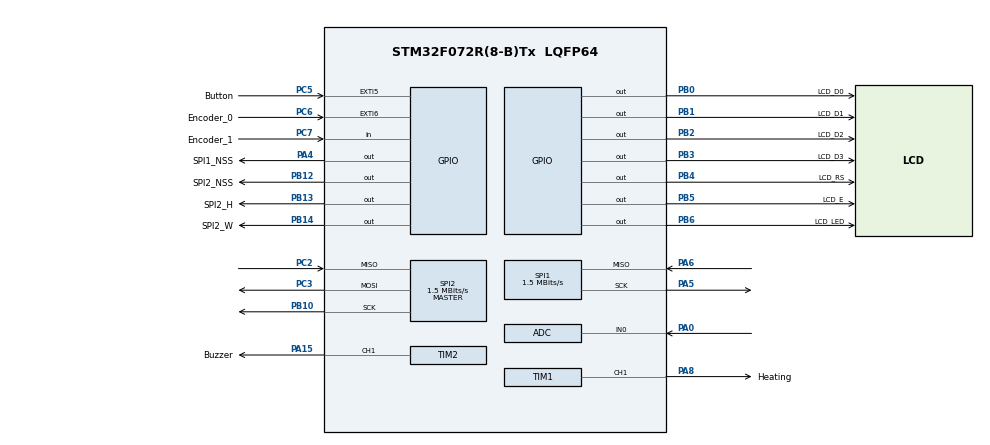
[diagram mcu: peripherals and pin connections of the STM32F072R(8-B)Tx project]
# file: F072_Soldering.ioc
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ADC.ClockPrescaler=ADC_CLOCK_SYNC_PCLK_DIV4
ADC.ContinuousConvMode=ENABLE
Mcu.Family=STM32F0
Mcu.Name=STM32F072R(8-B)Tx
Mcu.Package=LQFP64
NVIC.EXTI4_15_IRQn=true\:0\:0\:false\:false\:true\:true\:true\:true
PA0.Mode=IN0
PA0.Signal=ADC_IN0
PA13.Mode=Serial_Wire
PA13.Signal=SYS_SWDIO
PA14.Mode=Serial_Wire
PA14.Signal=SYS_SWCLK
PA15.GPIO_Label=Buzzer
PA15.Signal=S_TIM2_CH1_ETR
PA4.GPIO_Label=SPI1_NSS
PA4.Signal=GPIO_Output
PA5.Mode=RX_Only_Simplex_Unidirect_Master
PA5.Signal=SPI1_SCK
PA6.Mode=RX_Only_Simplex_Unidirect_Master
PA6.Signal=SPI1_MISO
PA8.GPIO_Label=Heating
PA8.Signal=S_TIM1_CH1
PB0.GPIO_Label=LCD_D0
PB0.Signal=GPIO_Output
PB1.GPIO_Label=LCD_D1
PB1.Signal=GPIO_Output
PB10.Mode=Full_Duplex_Master
PB10.Signal=SPI2_SCK
PB12.GPIO_Label=SPI2_NSS
PB12.Signal=GPIO_Output
PB13.GPIO_Label=SPI2_H
PB13.Signal=GPIO_Output
PB14.GPIO_Label=SPI2_W
PB14.Signal=GPIO_Output
PB2.GPIO_Label=LCD_D2
PB2.Signal=GPIO_Output
PB3.GPIO_Label=LCD_D3
PB3.Signal=GPIO_Output
PB4.GPIO_Label=LCD_RS
PB4.Signal=GPIO_Output
PB5.GPIO_Label=LCD_E
PB5.Signal=GPIO_Output
PB6.GPIO_FM6=__NULL
PB6.GPIO_Label=LCD_LED
PB6.Signal=GPIO_Output
PC2.Mode=Full_Duplex_Master
PC2.Signal=SPI2_MISO
PC3.Mode=Full_Duplex_Master
PC3.Signal=SPI2_MOSI
PC5.GPIO_Label=Button
PC5.GPIO_ModeDefaultEXTI=GPIO_MODE_IT_FALLING
PC5.GPIO_PuPd=GPIO_PULLUP
PC5.Signal=GPXTI5
PC6.GPIO_Label=Encoder_0
PC6.GPIO_ModeDefaultEXTI=GPIO_MODE_IT_FALLING
PC6.GPIO_PuPd=GPIO_PULLUP
PC6.Signal=GPXTI6
PC7.GPIO_Label=Encoder_1
PC7.GPIO_PuPd=GPIO_PULLUP
PC7.Signal=GPIO_Input
PF0-OSC_IN.Mode=HSE-External-Oscillator
PF0-OSC_IN.Signal=RCC_OSC_IN
PF1-OSC_OUT.Mode=HSE-External-Oscillator
PF1-OSC_OUT.Signal=RCC_OSC_OUT
ProjectManager.HeapSize=0x200
ProjectManager.StackSize=0x400
ProjectManager.TargetToolchain=STM32CubeIDE
RCC.AHBFreq_Value=48000000
RCC.APB1Freq_Value=48000000
RCC.APB1TimFreq_Value=48000000
RCC.HCLKFreq_Value=48000000
RCC.PLLMUL=RCC_PLL_MUL6
RCC.SYSCLKFreq_VALUE=48000000
RCC.SYSCLKSource=RCC_SYSCLKSOURCE_HSI48
SH.S_TIM1_CH1.0=TIM1_CH1,PWM Generation1 CH1
SH.S_TIM2_CH1_ETR.0=TIM2_CH1,PWM Generation1 CH1
SPI1.BaudRatePrescaler=SPI_BAUDRATEPRESCALER_32
SPI1.CalculateBaudRate=1.5 MBits/s
SPI1.DataSize=SPI_DATASIZE_8BIT
SPI1.Direction=SPI_DIRECTION_2LINES_RXONLY
SPI1.Mode=SPI_MODE_MASTER
SPI1.VirtualType=VM_MASTER
SPI2.BaudRatePrescaler=SPI_BAUDRATEPRESCALER_32
SPI2.CalculateBaudRate=1.5 MBits/s
SPI2.DataSize=SPI_DATASIZE_8BIT
SPI2.Direction=SPI_DIRECTION_2LINES
SPI2.Mode=SPI_MODE_MASTER
SPI2.VirtualType=VM_MASTER
TIM1.AutoReloadPreload=TIM_AUTORELOAD_PRELOAD_ENABLE
TIM1.Channel-PWM\ Generation1\ CH1=TIM_CHANNEL_1
TIM1.OCPolarity_1=TIM_OCPOLARITY_LOW
TIM1.Prescaler=48
TIM2.AutoReloadPreload=TIM_AUTORELOAD_PRELOAD_ENABLE
TIM2.Channel-PWM\ Generation1\ CH1=TIM_CHANNEL_1
TIM2.Period=65535
TIM2.Prescaler=48
VP_TIM1_VS_ClockSourceINT.Mode=Internal
VP_TIM2_VS_ClockSourceINT.Mode=Internal
board=custom

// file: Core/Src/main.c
/* USER CODE BEGIN Header */
/**
  ******************************************************************************
  * @file           : main.c
  * @brief          : Main program body
  ******************************************************************************
  * @attention
  *
  * Copyright (c) 2022 STMicroelectronics.
  * All rights reserved.
  *
  * This software is licensed under terms that can be found in the LICENSE file
  * in the root directory of this software component.
  * If no LICENSE file comes with this software, it is provided AS-IS.
  *
  ******************************************************************************
  */
/* USER CODE END Header */
#include "main.h"
#include "adc.h"
#include "spi.h"
#include "tim.h"
#include "gpio.h"

/* USER CODE BEGIN Includes */
#include "HD44780.h"
#include "Eeprom.h"
/* USER CODE END Includes */

/* USER CODE BEGIN PV */

uint8_t		System				= 0;		// ridi zobrazeni na displeji 	0 - normalni,
											//								1 - MENU - prechazi tlacitkem rot koderu
											//								2 - EEPROM - uklada se do pameti po konci rezimu MENU
											//								3 - Standby - kdyz je dlouho stejna teplota
											//								4 - ERROR - chyba teplomeru

uint8_t		Menu				= 0;		// pozice v MENU, 0 - 8 jsou pro zmenu promenych, 9 - 11 zobrazeni stavu promennych, 12 - exit

uint16_t	TimerBeep			= 0;		// doba trvani tonu, generovano PWM
uint16_t	TimerStart			= 0;		// pocita milisekundy od startu, zastavi se na 10 sekund
uint16_t	TimerSec			= 0;		// pocita cas v milisekundach, pretece pri dosazeni sekundy v preruseni SYSTICK

uint8_t		Temperature[4];					// Buffer pro cteni z MAX31855
uint32_t	TemperatureIn		= 0;		// Teplota obvodu MAX31855
uint32_t	TemperatureOut		= 0;		// Teplota termoclanku
uint16_t	MeanArray[200];					// Pole pro prumerovani hodnot z MAX31855
uint8_t		MeanPointer			= 0;		// Ukazatel v poli
uint16_t	MeanMax				= 40;		// EEPROM - velikost pole pro prumerovani pri mereni teploty
uint32_t	MeanAdd				= 0;		// Scitani pro prumer
uint32_t	TemperatureMeasure	= 0;		// namerena teplota po zprumerovani

uint32_t	AdResult			= 0;		// namerene napeti, prepocitane na volty

uint16_t	TemperatureMin		= 1000;		// EEPROM - minimalni teplota
uint16_t	TemperatureMax		= 4000;		// EEPROM - maximalni teplota
uint16_t	TemperatureSet0		= 1400;		// EEPROM - nastavena teplota
uint16_t	TemperatureSet		= 2700;		// nastavena teplota v normalnim rezimu, kopiruje se z TempSet0
uint16_t	TemperatureSetStandby = 0;		// zaloha teploty, ktera bude vracena po opusteni Standby rezimu

uint16_t	StandbyTemperature	= 1000;		// EEPROM - pozadovana teplota v Standby rezimu
uint16_t	StandbyDifference	= 80;		// EEPROM - rozdil teplot ktery nesmi byt prekrocen, aby zacal Standby rezim
uint16_t	StandbyTimerMax		= 300;		// EEPROM - timer, ktery pocita cas kdy se nesmi menit teplota pro dosazeni standby rezimu
uint16_t	TimerStandby		= 0;		// casovac v sekundach, po dosazeni StandbyTimerMax se pusti standby rezim

uint16_t	Const1				= 500;		// EEPROM - konstanta PID regulatoru proporcionalni
uint16_t	Const2				= 20;		// EEPROM - konstanta PID regulatoru integralni
int16_t		Difference			= 0;		// PID - proporcionalni odchylka
int32_t		DifferenceIntegral	= 0;		// PID - integralni odchylka
int16_t		SolderPWM			= 0;		// vypocteny vykon v desetinach procenta

uint16_t	CounterTemperature	= 0;		// pocitadlo, ktere ma pri dosazeni pozadovane teploty hodnotu 1, pak je melodie a pak hodnota 2

uint8_t		EepromBuffer[30];				// Buffer pro zapis a cteni z EEPROM

/* USER CODE END PV */

void SystemClock_Config(void);

int main(void)
{

  /* MCU Configuration--------------------------------------------------------*/

  /* Reset of all peripherals, Initializes the Flash interface and the Systick. */
  HAL_Init();

  /* Configure the system clock */
  SystemClock_Config();

  /* Initialize all configured peripherals */
  MX_GPIO_Init();
  MX_ADC_Init();
  MX_SPI1_Init();
  MX_SPI2_Init();
  MX_TIM1_Init();
  MX_TIM2_Init();
  /* USER CODE BEGIN 2 */
  /* * * * * * * * * * * * * * * * * * * * */
  /* * * Aktivace PWM pro pajku        * * */
  /* * * * * * * * * * * * * * * * * * * * */
  LL_TIM_EnableCounter(TIM1);								// PWM pajky
  LL_TIM_EnableAllOutputs(TIM1);
  LL_TIM_SetAutoReload(TIM1, 1000);							// perioda PWM signalu v ns
  LL_TIM_OC_SetCompareCH1(TIM1, 0);
  TemperatureSet = 100;

  LL_mDelay( 250 );

  LL_SYSTICK_EnableIT();							// aktivuje preruseni po 1ms
  LL_ADC_Enable(ADC1);
  LL_ADC_REG_StartConversion(ADC1);

  /* * * * * * * * * * * * * * * * * * * * * * * * * * */
  /* * * Precte hodnoty promennych z EEPROM        * * */
  /* * * * * * * * * * * * * * * * * * * * * * * * * * */

  EEPROM_SPI_INIT(&hspi2);
  EEPROM_SPI_ReadBuffer(EepromBuffer, (uint16_t)0x03, (uint16_t)22 );
  if((EepromBuffer[18] == 0xA5) && (EepromBuffer[19] == 0x62)){
	  TemperatureMin = EepromBuffer[ 0] * 256 + EepromBuffer[ 1];
	  TemperatureMax = EepromBuffer[ 2] * 256 + EepromBuffer[ 3];
	  TemperatureSet0 = EepromBuffer[ 4] * 256 + EepromBuffer[ 5];
	  StandbyTemperature = EepromBuffer[ 6] * 256 + EepromBuffer[ 7];
	  StandbyDifference = EepromBuffer[ 8] * 256 + EepromBuffer[ 9];
	  StandbyTimerMax = EepromBuffer[10] * 256 + EepromBuffer[11];
	  MeanMax = EepromBuffer[12] * 256 + EepromBuffer[13];
	  Const1 = EepromBuffer[14] * 256 + EepromBuffer[15];
	  Const2 = EepromBuffer[16] * 256 + EepromBuffer[17];
  }

  /* * * * * * * * * * * * * * * * * * * * * * * * * * */
  /* * * Aktivuje display a zahraje melodii        * * */
  /* * * * * * * * * * * * * * * * * * * * * * * * * * */

  LCD_Init();
  LL_mDelay( 250 );
  LL_GPIO_SetOutputPin(LCD_LED_GPIO_Port, LCD_LED_Pin);		// zapne podsviceni
  LL_GPIO_SetOutputPin(SPI1_NSS_GPIO_Port, SPI1_NSS_Pin);	// CS obvodu mereni teploty
  LL_GPIO_SetOutputPin(SPI2_NSS_GPIO_Port, SPI2_NSS_Pin);	// CS obvodu EEPROM
  LCD_Init();
  LCD_Position( 0, 0 );
  LCD_WriteCString( " 03_Soldering   " );
  LCD_Position( 1, 0 );
  LCD_WriteCString( " 30.12.2022     " );
  Music();
  LCD_Clear();
  /* USER CODE END 2 */

  /* Infinite loop */
  /* USER CODE BEGIN WHILE */
  while (1) {
	  /* * * * * * * * * * * * * * * * * * * * * * * * * * */
	  /* * * Ovlada teplomer                           * * */
	  /* * * * * * * * * * * * * * * * * * * * * * * * * * */

	  if((TimerStart > 4000) && (TimerStart < 5000)) TemperatureSet = TemperatureSet0;	// nastavi pozadovanou teplotu 4 sekundy od startu
	  HAL_GPIO_WritePin(SPI1_NSS_GPIO_Port, SPI1_NSS_Pin, GPIO_PIN_RESET);
	  HAL_SPI_Receive(&hspi1, Temperature, 4, 1000);								// precte data z termoclanku
	  HAL_GPIO_WritePin(SPI1_NSS_GPIO_Port, SPI1_NSS_Pin, GPIO_PIN_SET);
	  TemperatureIn = (Temperature[3] >> 4) | (Temperature[2] << 4);
	  TemperatureIn = TemperatureIn * 625 / 1000;									// vypoctena teplota obvodu a zaokrouhleno na desetiny stupne
	  TemperatureOut = (Temperature[1] >> 2) | (Temperature[0] << 6);
	  TemperatureOut &= 0x03FFF;
	  TemperatureOut = TemperatureOut * 25 / 10;									// vypoctena teplota clanku a zaokrouhleno na desetiny stupne
	  MeanArray[MeanPointer] = TemperatureOut;
	  MeanAdd += MeanArray[MeanPointer];											// pricita k prumeru
	  if(MeanPointer < MeanMax) MeanPointer++; else MeanPointer = 0;
	  MeanAdd -= MeanArray[MeanPointer];											// odecita od prumeru posledni z pole
	  TemperatureMeasure = (uint16_t) (MeanAdd / MeanMax);							// vypocte prumer

	  if(((Temperature[3] & 0x0F) != 0x00) && ((Temperature[3] & 0x0F) != 0x02)) {	// hleda chybu teplomeru krome pripojeni ke GND
		  System = 4;
		  TemperatureMeasure = 6000;
		  LL_TIM_OC_SetCompareCH1(TIM1, 0);
	  }
	  if(((Temperature[3] & 0x0F) == 0x00) && (System == 4)) System = 0;

	  LL_mDelay(50);

	  /* * * * * * * * * * * * * * * * * * * * * * * * * * */
	  /* * * Meri napajeci napeti a vypne zarizeni     * * */
	  /* * * * * * * * * * * * * * * * * * * * * * * * * * */

	  AdResult = LL_ADC_REG_ReadConversionData12(ADC1);								// zmeri napajeci napeti
	  AdResult = ( AdResult * 303 ) >> 14;											// y = 0.0185 x
	  if((AdResult < 15) && (TimerStart > 5000)) {									// low voltage, it will shut down
		  LL_TIM_OC_SetCompareCH2(TIM1, 0);											// stops PWM heating
		  LL_ADC_Disable(ADC1);
		  LL_GPIO_ResetOutputPin(LCD_LED_GPIO_Port, LCD_LED_Pin);					// turns off the backlight
		  LCD_Position( 0, 0 );
		  LCD_WriteCString( "Low voltage, it " );
		  LCD_Position( 1, 0 );
		  LCD_WriteCString( "will shut down  " );
		  MusicEnd();
		  LL_SYSTICK_DisableIT();													// stops SYSTICK
		  while (1) {}																// vypinani je dokonceno
	  }

	  /* * * * * * * * * * * * * * * * * * * * * * * * * * */
	  /* * * Zobrazeni na displeji v beznem rezimu     * * */
	  /* * * * * * * * * * * * * * * * * * * * * * * * * * */

	  switch(System & 0x0F) {														// promenna System je ovladana rotacnim koderem v programu preruseni
	  case 0: {
		  LCD_Position( 0, 0 );														// normalni zobrazeni
		  LCD_WriteCString( "Tsold = " );
		  LCD_PrTemp( TemperatureMeasure );											// namerena teplota
		  LCD_WriteCString( " " );
		  LCD_Position( 1, 0 );
		  LCD_PrTemp( TemperatureSet );													// pozadovana teplota
		  LCD_WriteCString( "P =" );
		  LCD_PrintNumber(SolderPWM / 10, 3, 0);									// vykon zaokruhleny na cela procenta
		  LCD_WriteCString( "% " );													// konec normalniho zobrazeni
		  break;
	  }

	  /* * * * * * * * * * * * * * * * * * * * * * * * * * */
	  /* * * Zobrazeni na displeji v rezimu MENU       * * */
	  /* * * * * * * * * * * * * * * * * * * * * * * * * * */

	  case 1: {
		  LCD_Position( 0, 0 );														// zobrazeni MENU
		  switch(Menu) {
		  case 0: {
			  LCD_WriteCString( "1 Teplota Tmin  " );
	  		  LCD_Position( 1, 0 );
	  		  LCD_PrTemp( TemperatureMin );											// minimalni teplota, kterou lze nastavit
	  		  LCD_WriteCString( "      " );
	  		  break;
		  }
		  case 1: {
			  LCD_WriteCString( "2 Teplota Tmax  " );
			  LCD_Position( 1, 0 );
			  LCD_PrTemp( TemperatureMax );											// maximalni teplota, kteru lze nastavit
			  LCD_WriteCString( "      " );
			  break;
		  }
		  case 2: {
			  LCD_WriteCString( "3 Teplota Tset  " );
			  LCD_Position( 1, 0 );
			  LCD_PrTemp( TemperatureSet0 );										// pozadovana teplota po zapnuti
			  LCD_WriteCString( "      " );
			  break;
		  }
		  case 3: {
	  		  LCD_WriteCString( "4 Teplota Standb" );
	  		  LCD_Position( 1, 0 );
	  		  LCD_PrTemp( StandbyTemperature );										// teplota ve Standby rezimu
	  		  LCD_WriteCString( "      " );
	  		  break;
		  }
		  case 4: {
			  LCD_WriteCString( "5 Standby Diff  " );
			  LCD_Position( 1, 0 );
			  LCD_PrPwm( StandbyDifference );										// rozdil teploty, ktery nesmi byt prekrocen, aby byl Standby rezim
			  LCD_WriteCString( "       " );
			  break;
		  }
		  case 5: {
			  LCD_WriteCString( "6 Standby timer " );
			  LCD_Position( 1, 0 );
			  LCD_PrintNumber( StandbyTimerMax, 4, 0 );								// cas, za ktery se prepina do Standby
			  LCD_WriteCString( " sec      " );
			  break;
		  }
		  case 6: {
			  LCD_WriteCString( "7 Velikost pole " );
			  LCD_Position( 1, 0 );
			  LCD_PrintNumber( MeanMax, 4, 0 );										// velikost pole pro prumerovani pri mereni
			  LCD_WriteCString( "           " );
			  break;
		  }
		  case 7: {
	  		  LCD_WriteCString( "8 Proporcionalni" );
	  		  LCD_Position( 1, 0 );
	  		  LCD_PrintNumber( Const1, 4, 0 );										// konstanta pro proporcionalni regulaci
	  		  LCD_WriteCString( "           " );
	  		  break;
		  }
		  case 8: {
	  		  LCD_WriteCString( "9 Integralni    " );
	  		  LCD_Position( 1, 0 );
	  		  LCD_PrintNumber( Const2, 4, 0 );										// konstanta pro integralni regulaci
	  		  LCD_WriteCString( "           " );
	  		  break;
		  }
		  case 9: {
	  		  LCD_WriteCString( "10 Rozdil + int " );
	  		  LCD_Position( 1, 0 );
	  		  LCD_PrintNumber( Difference, 4, 0 );									// vypisuje proporcionalni a integralni rozdil
	  		  LCD_WriteCString( "  " );
	  		  LCD_PrintNumber( DifferenceIntegral, 6, 0 );
	  		  break;
		  }
		  case 10: {
	  		  LCD_WriteCString( "11 Prumerovani  " );
	  		  LCD_Position( 1, 0 );
	  		  LCD_PrTemp( TemperatureOut );											// vypisuje aktualni namerenou a prumernou teplotu
	  		  LCD_WriteCString( " " );
	  		  LCD_PrTemp( TemperatureMeasure );
	  		  break;
		  }
		  case 11: {
	  		  LCD_WriteCString( "12 Teplota okoli" );
	  		  LCD_Position( 1, 0 );
	  		  LCD_PrTemp( TemperatureIn );											// vypisuje teplotu okoli
	  		  LCD_WriteCString( "       " );
	  		  break;
		  }
		  case 12: {
	  		  LCD_WriteCString( "Napajeci napeti:" );
	  		  LCD_Position( 1, 0 );
	  		  LCD_PrintNumber( AdResult, 2, 0);										// vypisuje napajeci napeti
	  		  LCD_WriteCString( " Voltu - - - " );
	  		  break;
		  }
		  case 13: {
	  		  LCD_WriteCString( "Exit menu       " );								// konec MENU, promenna System pujde na hodnotu 2, aby se ulozilo do EEPROM
	  		  LCD_Position( 1, 0 );
	  		  LCD_WriteCString( "                " );
	  		  break;
		  }
		  }
		  if ((System == 0x11) && (Menu < 9)) {										// zobrazuje zmenu hodnot
			  LCD_WriteCString( "^" );
		  } else {
			  LCD_WriteCString( " " );
		  }
		  break;

	  }

	  /* * * * * * * * * * * * * * * * * * * * * * * * * * */
	  /* * * Zobrazeni na displeji na konci MENU       * * */
	  /* * * * * * * * * * * * * * * * * * * * * * * * * * */

	  case 2: {
		  LCD_Position( 0, 0 );
		  LCD_WriteCString( "   W R I T E    " );
		  LCD_Position( 1, 0 );
		  LCD_WriteCString( "   E E P R O M  " );
		  LL_mDelay( 500 );
		  LCD_Clear();
		  System = 0;

		  EepromBuffer[ 0] = TemperatureMin >> 8;										// zapise promenne do EEPROM
		  EepromBuffer[ 1] = (uint8_t) (TemperatureMin);
		  EepromBuffer[ 2] = TemperatureMax >> 8;
		  EepromBuffer[ 3] = (uint8_t) (TemperatureMax);
		  EepromBuffer[ 4] = TemperatureSet0 >> 8;
		  EepromBuffer[ 5] = (uint8_t) (TemperatureSet0);
		  EepromBuffer[ 6] = StandbyTemperature >> 8;
		  EepromBuffer[ 7] = (uint8_t) (StandbyTemperature);
		  EepromBuffer[ 8] = StandbyDifference >> 8;
		  EepromBuffer[ 9] = (uint8_t) (StandbyDifference);
		  EepromBuffer[10] = StandbyTimerMax >> 8;
		  EepromBuffer[11] = (uint8_t) (StandbyTimerMax);
		  EepromBuffer[12] = MeanMax >> 8;
		  EepromBuffer[13] = (uint8_t) (MeanMax);
		  EepromBuffer[14] = Const1 >> 8;
		  EepromBuffer[15] = (uint8_t) (Const1);
		  EepromBuffer[16] = Const2 >> 8;
		  EepromBuffer[17] = (uint8_t) (Const2);
		  EepromBuffer[18] = 0xA5;
		  EepromBuffer[19] = 0x62;

		  EEPROM_SPI_INIT(&hspi2);
		  EEPROM_SPI_WriteBuffer(EepromBuffer, (uint16_t)0x03, (uint16_t)26 );

		  break;
	  }

	  /* * * * * * * * * * * * * * * * * * * * * * * * * * */
	  /* * * Zobrazeni na displeji v rezimu Standby    * * */
	  /* * * * * * * * * * * * * * * * * * * * * * * * * * */

	  case 3: {
		  LCD_Position( 1, 0 );														// Standby zobrazeni a zadana teplota
		  LCD_WriteCString( "Tsold = " );
		  LCD_PrTemp( TemperatureMeasure );
		  LCD_WriteCString( " " );
		  LCD_Position( 0, 0 );
		  LCD_PrTemp( TemperatureSet );
		  LCD_WriteCString( "* * Standby * * " );
		  TemperatureSet = TemperatureSetStandby;
		  break;
	  }

	  /* * * * * * * * * * * * * * * * * * * * * * * * * * */
	  /* * * Zobrazeni chyby teplomeru                 * * */
	  /* * * * * * * * * * * * * * * * * * * * * * * * * * */

	  case 4: {																		// zobrazeni kdyz je chyba teplomeru
		  switch(Temperature[3] & 0x0F) {
		  case 1: {
			  LCD_Clear();
			  LCD_Position( 0, 0 );
			  LCD_WriteCString( "!  E R R O R ! !" );
			  LCD_Position( 1, 0 );
			  LCD_WriteCString( "Open circuit!   " );
			  break;
		  }
		  case 2: {
			  LCD_Clear();
			  LCD_Position( 0, 0 );
			  LCD_WriteCString( "!  E R R O R ! !" );
			  LCD_Position( 1, 0 );
			  LCD_WriteCString( "Short to GND!   " );
			  break;
		  }
		  case 4: {
			  LCD_Clear();
			  LCD_Position( 0, 0 );
			  LCD_WriteCString( "!  E R R O R ! !" );
			  LCD_Position( 1, 0 );
			  LCD_WriteCString( "Short to Vcc!   " );
			  break;
		  }
		  default: {
			  LCD_Clear();
			  LCD_Position( 0, 0 );
			  LCD_WriteCString( "!  E R R O R ! !" );
			  LCD_Position( 1, 0 );
			  LCD_WriteCString( "* * * * * * * * " );
		  }
		  }
		  Beep( 2000, 100);
		  LL_mDelay( 1000 );
	  }
	  }
	  if(CounterTemperature == 1) {														// pocitadlo, ktere hlida dosazeni pozadovane teploty
		  CounterTemperature = 2;
		  MusicUp();
	  }
    /* USER CODE END WHILE */

  }
}

void SystemClock_Config(void)
{
  LL_FLASH_SetLatency(LL_FLASH_LATENCY_1);
  while(LL_FLASH_GetLatency() != LL_FLASH_LATENCY_1)
  {
  }
  LL_RCC_HSI48_Enable();

   /* Wait till HSI48 is ready */
  while(LL_RCC_HSI48_IsReady() != 1)
  {

  }
  LL_RCC_SetAHBPrescaler(LL_RCC_SYSCLK_DIV_1);
  LL_RCC_SetAPB1Prescaler(LL_RCC_APB1_DIV_1);
  LL_RCC_SetSysClkSource(LL_RCC_SYS_CLKSOURCE_HSI48);

   /* Wait till System clock is ready */
  while(LL_RCC_GetSysClkSource() != LL_RCC_SYS_CLKSOURCE_STATUS_HSI48)
  {

  }
  LL_SetSystemCoreClock(48000000);

   /* Update the time base */
  if (HAL_InitTick (TICK_INT_PRIORITY) != HAL_OK)
  {
    Error_Handler();
  }
}

/* USER CODE BEGIN 4 */
void Beep( uint32_t Tone, uint16_t Time) {
	Tone = 1000000 / Tone;
	LL_TIM_EnableCounter(TIM2);
	LL_TIM_EnableAllOutputs(TIM2);
	LL_TIM_SetAutoReload(TIM2, Tone);
	LL_TIM_OC_SetCompareCH1(TIM2, 200);
	TimerBeep = Time;
}

void Music( void ) {
	  Beep( TONE_H1, TIME_2a );
	  LL_mDelay( TIME_2 );
	  Beep( TONE_A1, TIME_3a );
	  LL_mDelay( TIME_3 );
	  Beep( TONE_A1, TIME_2a );
	  LL_mDelay( TIME_2 );
	  Beep( TONE_G1, TIME_3a );
	  LL_mDelay( TIME_3 );
	  Beep( TONE_G1, TIME_2a );
	  LL_mDelay( TIME_2 );
	  Beep( TONE_Fx1, TIME_3a );
	  LL_mDelay( TIME_3 );
	  Beep( TONE_A1, TIME_2a );
	  LL_mDelay( TIME_2 );
	  Beep( TONE_G1, TIME_3a );
	  LL_mDelay( TIME_3 );
	  Beep( TONE_G1, TIME_2a );
	  LL_mDelay( TIME_2 );
	  Beep( TONE_Fx1, TIME_3a );
	  LL_mDelay( TIME_3 );
	  Beep( TONE_E1, TIME_1a );
	  LL_mDelay( TIME_1 );
}

void MusicEnd(void) {
	  Beep( TONE_C4, 50 );
	  LL_mDelay( 60 );
	  Beep( TONE_C3, 50 );
	  LL_mDelay( 60 );
	  Beep( TONE_C2, 50 );
	  LL_mDelay( 60 );
	  Beep( TONE_C1, 50 );
	  LL_mDelay( 60 );
}

void MusicUp(void) {
	  Beep( TONE_C1, 50 );
	  LL_mDelay( 60 );
	  Beep( TONE_C2, 50 );
	  LL_mDelay( 60 );
	  Beep( TONE_C3, 50 );
	  LL_mDelay( 60 );
	  Beep( TONE_C4, 50 );
	  LL_mDelay( 60 );
}
/* USER CODE END 4 */

void Error_Handler(void)
{
  __disable_irq();
  while (1)
  {
  }
}
